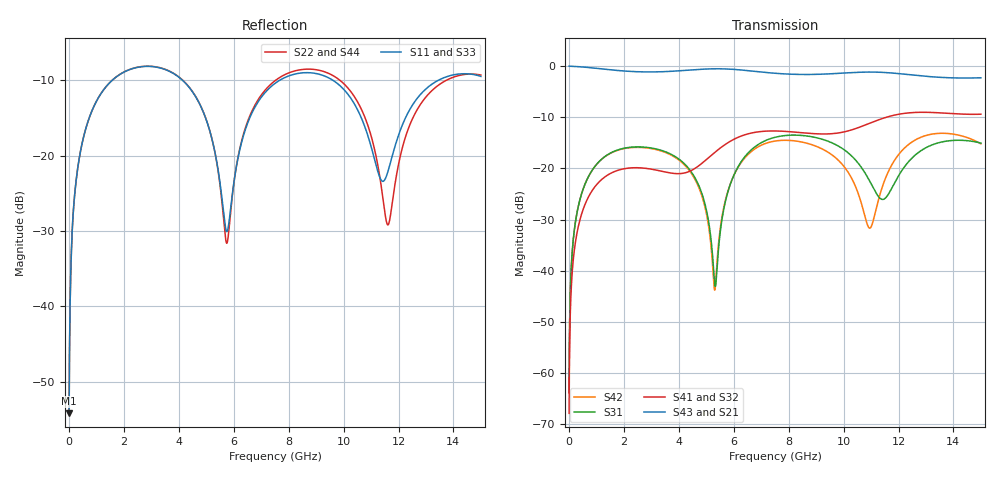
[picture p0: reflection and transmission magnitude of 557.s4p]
! Created with skrf 1.8.0 (http://scikit-rf.org).
# GHz S RI R 50.0
!freq ReS11 ImS11 ReS12 ImS12 ReS13 ImS13
! ReS14 ImS14
! ReS21 ImS21 ReS22 ImS22 ReS23 ImS23
! ReS24 ImS24
! ReS31 ImS31 ReS32 ImS32 ReS33 ImS33
! ReS34 ImS34
! ReS41 ImS41 ReS42 ImS42 ReS43 ImS43
! ReS44 ImS44
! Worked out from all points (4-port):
!   2499 points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, 5 MHz to 15 GHz, reference 50 ohm
!   strongest paths, dB at 5 MHz, 3.476 GHz, 7.19 GHz, 11.1 GHz, 15 GHz:
!     S43: 0.0, -1.1, -1.3, -1.2, -2.3
!     S21: 0.0, -1.1, -1.3, -1.2, -2.3
!     S41: -67.9, -20.7, -12.7, -10.9, -9.4
!     S32: -67.9, -20.8, -12.8, -10.9, -9.5
!     S31: -63.9, -16.7, -14.5, -24.0, -15.1
!     S42: -63.9, -16.8, -15.1, -29.8, -15.2
!   lowest |S11| = -54.2 dB at 5 MHz (marker M1), VSWR 1.00, Z = 50.2 + j0.119 ohm
!   |S11| at or under -10 dB: start of sweep to 1.577 GHz; 4.133 GHz to 7.676 GHz (3.543 GHz wide, 60 % of centre); 9.608 GHz to 13.45 GHz (3.846 GHz wide, 33.4 % of centre)
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0.005  0.00156 0.00118  0.9984 -0.00304  7.87e-05 0.000636  -7.64e-05 -0.000396
       0.9984 -0.00304  0.00156 0.00118  -7.64e-05 -0.000396  7.87e-05 0.000636
       7.87e-05 0.000636  -7.64e-05 -0.000396  0.00156 0.00118  0.9984 -0.00304
       -7.64e-05 -0.000396  7.87e-05 0.000636  0.9984 -0.00304  0.00156 0.00118
0.3126303  0.0221 0.0782  0.9698 -0.1893  0.0104 0.0379  -0.00857 -0.0234
           0.9698 -0.1893  0.0221 0.0782  -0.00855 -0.0234  0.0102 0.038
           0.0104 0.0379  -0.00855 -0.0234  0.0221 0.0782  0.9698 -0.1893
           -0.00857 -0.0234  0.0102 0.038  0.9698 -0.1893  0.0221 0.0782
1.519383  0.2476 0.1851  0.5947 -0.7013  0.1243 0.0679  -0.0885 -0.0135
          0.5947 -0.7013  0.2487 0.1844  -0.0882 -0.0138  0.1217 0.0709
          0.1243 0.0679  -0.0882 -0.0138  0.2478 0.185  0.5948 -0.7013
          -0.0885 -0.0135  0.1217 0.0709  0.5948 -0.7013  0.2485 0.1845
5.32722  0.051 -0.0894  -0.8946 -0.2931  -0.00697 -0.000298  -0.0386 0.1394
         -0.8946 -0.2931  0.0456 -0.0914  -0.0431 0.138  -0.00674 0.00157
         -0.00697 -0.000298  -0.0431 0.138  0.0497 -0.0896  -0.8946 -0.2932
         -0.0386 0.1394  -0.00674 0.00157  -0.8946 -0.2932  0.0467 -0.0908
9.022509  0.3468 -0.0434  0.0374 0.8292  0.1521 -0.1286  0.2005 -0.085
          0.0374 0.8292  0.3648 -0.0661  0.2008 -0.0734  0.1542 -0.0549
          0.1521 -0.1286  0.2008 -0.0734  0.3473 -0.0472  0.0371 0.8298
          0.2005 -0.085  0.1542 -0.0549  0.0371 0.8298  0.3617 -0.0627
11.61109  0.0711 0.0323  0.8564 0.099  -0.0301 0.0458  0.016 -0.319
          0.8564 0.099  0.0346 -0.00299  0.0371 -0.3173  0.0565 0.0709
          -0.0301 0.0458  0.0371 -0.3173  0.0635 0.0357  0.8565 0.0987
          0.016 -0.319  0.0565 0.0709  0.8565 0.0987  0.0393 -0.000949
15  0.3286 -0.0659  -0.0331 -0.7678  0.0974 -0.1475  -0.3273 0.0874
    -0.0331 -0.7678  0.3379 -0.0537  -0.3292 0.0568  0.1139 -0.1312
    0.0974 -0.1475  -0.3292 0.0568  0.332 -0.0718  -0.0316 -0.7678
    -0.3273 0.0874  0.1139 -0.1312  -0.0316 -0.7678  0.3345 -0.0467
